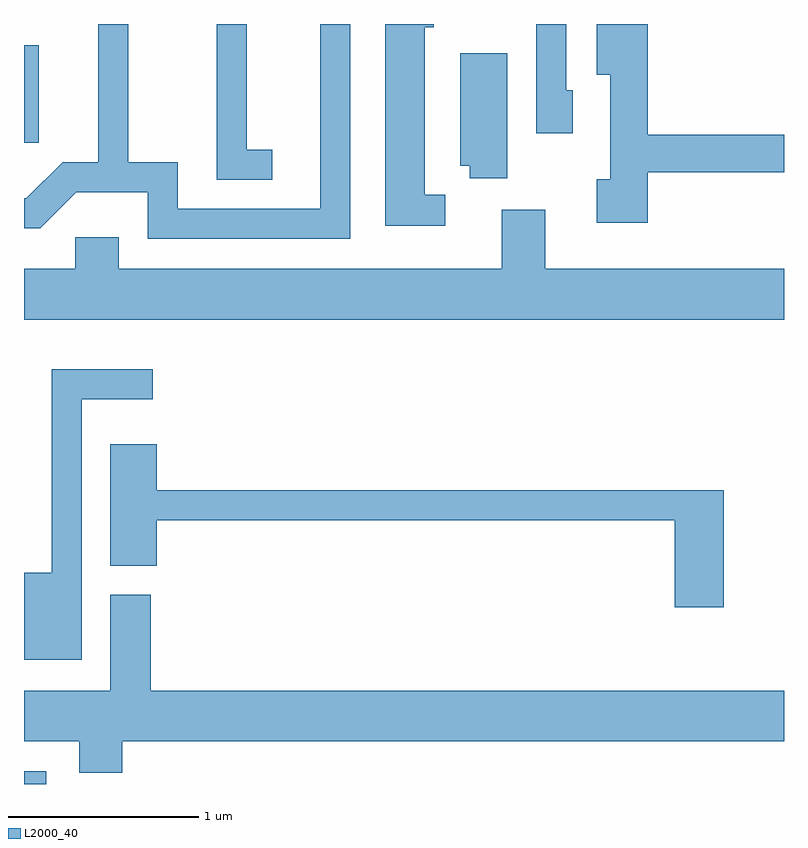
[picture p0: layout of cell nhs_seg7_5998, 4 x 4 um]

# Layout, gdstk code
import gdstk
lib = gdstk.Library(unit=1e-6, precision=1e-09)
def R(c, l, rs):  # rectangles x0, y0, x1, y1
    for r in rs: c.add(gdstk.rectangle(r[:2], r[2:], *l))
def P(c, l, *ps):  # polygons
    for p in ps: c.add(gdstk.Polygon(p, *l))
L2000_40 = (2000, 40)

nhs_seg7_5998 = lib.new_cell('nhs_seg7_5998')
R(nhs_seg7_5998, L2000_40, [(367.611,1776.252,367.729,1776.319), (367.611,1779.626,367.689,1780.139)])
P(nhs_seg7_5998, L2000_40, [(369.329,1780.252),(369.171,1780.252),(369.171,1779.279),(368.419,1779.279),(368.419,1779.524),(368.159,1779.524),(368.159,1780.252),(368.001,1780.252),(368.001,1779.524),(367.814,1779.524),(367.624,1779.334),(367.611,1779.334),(367.611,1779.176),(367.697,1779.176),(367.887,1779.366),(368.261,1779.366),(368.261,1779.121),(369.329,1779.121)],
  [(370.894,1779.471),(371.611,1779.471),(371.611,1779.669),(370.894,1779.669),(370.894,1780.252),(370.626,1780.252),(370.626,1779.986),(370.696,1779.986),(370.696,1779.434),(370.626,1779.434),(370.626,1779.206),(370.894,1779.206)],
  [(368.918,1779.589),(368.784,1779.589),(368.784,1780.252),(368.626,1780.252),(368.626,1779.431),(368.918,1779.431)],
  [(370.499,1779.904),(370.464,1779.904),(370.464,1780.252),(370.306,1780.252),(370.306,1779.676),(370.499,1779.676)],
  [(369.828,1779.354),(369.719,1779.354),(369.719,1780.236),(369.768,1780.236),(369.768,1780.252),(369.511,1780.252),(369.511,1779.191),(369.828,1779.191)],
  [(370.154,1780.099),(369.906,1780.099),(369.906,1779.506),(369.956,1779.506),(369.956,1779.441),(370.154,1779.441)],
  [(371.611,1778.964),(370.354,1778.964),(370.354,1779.274),(370.126,1779.274),(370.126,1778.964),(368.109,1778.964),(368.109,1779.129),(367.881,1779.129),(367.881,1778.964),(367.611,1778.964),(367.611,1778.696),(371.611,1778.696)],
  [(367.914,1778.276),(368.288,1778.276),(368.288,1778.434),(367.756,1778.434),(367.756,1777.364),(367.611,1777.364),(367.611,1776.906),(367.914,1776.906)],
  [(371.294,1777.799),(368.309,1777.799),(368.309,1778.039),(368.066,1778.039),(368.066,1777.401),(368.309,1777.401),(368.309,1777.641),(371.036,1777.641),(371.036,1777.181),(371.294,1777.181)],
  [(368.129,1776.476),(371.611,1776.476),(371.611,1776.744),(368.279,1776.744),(368.279,1777.249),(368.066,1777.249),(368.066,1776.744),(367.611,1776.744),(367.611,1776.476),(367.901,1776.476),(367.901,1776.311),(368.129,1776.311)])

lib.write_gds('nhs_seg7_5998.gds')
